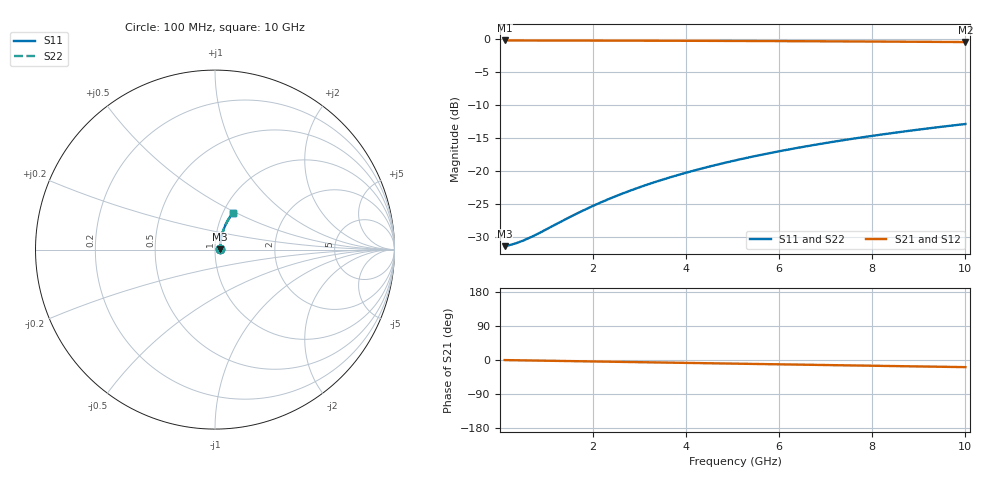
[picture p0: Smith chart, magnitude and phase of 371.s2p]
# Hz S RI R 50.00
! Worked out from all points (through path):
!   100 points, 100 MHz to 10 GHz, reference 50 ohm
!   highest |S21| = -0.23 dB at 100 MHz (marker M1); lowest = -0.5 dB at 10 GHz (marker M2)
!   group delay of S21, straight-line fit = 5.24 ps
!   lowest |S11| = -31.5 dB at 100 MHz (marker M3), VSWR 1.05, Z = 52.7 + j0.236 ohm
!   |S11| at or under -10 dB: start of sweep to end of sweep
!   |S22| runs from -31.5 to -12.9 dB; largest |S21 - S12| = 0
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1e8  0.0266 0.00224  0.9733 -0.00325  0.9733 -0.00325  0.0266 0.00224
2e8  0.0268 0.00447  0.9732 -0.0065  0.9732 -0.0065  0.0268 0.00447
3e8  0.027 0.0067  0.973 -0.00975  0.973 -0.00975  0.027 0.0067
4e8  0.0272 0.00893  0.9728 -0.013  0.9728 -0.013  0.0272 0.00893
6e8  0.0275 0.0134  0.9725 -0.0195  0.9725 -0.0195  0.0275 0.0134
8e8  0.0278 0.0178  0.9722 -0.026  0.9722 -0.026  0.0278 0.0178
1.4e9  0.0291 0.0312  0.9708 -0.0454  0.9708 -0.0454  0.0291 0.0312
1.8e9  0.0302 0.04  0.9696 -0.0583  0.9696 -0.0583  0.0302 0.04
2.2e9  0.0315 0.0488  0.9682 -0.0712  0.9682 -0.0712  0.0315 0.0488
2.6e9  0.033 0.0576  0.9666 -0.084  0.9666 -0.084  0.033 0.0576
3e9  0.0348 0.0663  0.9647 -0.0968  0.9647 -0.0968  0.0348 0.0663
3.4e9  0.0367 0.0749  0.9626 -0.1095  0.9626 -0.1095  0.0367 0.0749
3.8e9  0.0389 0.0835  0.9603 -0.1222  0.9603 -0.1222  0.0389 0.0835
4.2e9  0.0413 0.092  0.9577 -0.1348  0.9577 -0.1348  0.0413 0.092
4.6e9  0.044 0.1005  0.9549 -0.1473  0.9549 -0.1473  0.044 0.1005
5.1e9  0.0476 0.1109  0.951 -0.1628  0.951 -0.1628  0.0476 0.1109
5.9e9  0.054 0.1272  0.9441 -0.1873  0.9441 -0.1873  0.054 0.1272
6.7e9  0.0612 0.1431  0.9364 -0.2114  0.9364 -0.2114  0.0612 0.1431
7.5e9  0.0692 0.1586  0.9277 -0.235  0.9277 -0.235  0.0692 0.1586
8.4e9  0.0792 0.1753  0.9171 -0.261  0.9171 -0.261  0.0792 0.1753
9.2e9  0.0887 0.1896  0.9067 -0.2835  0.9067 -0.2835  0.0887 0.1896
1e10  0.0989 0.2033  0.8957 -0.3054  0.8957 -0.3054  0.0989 0.2033
